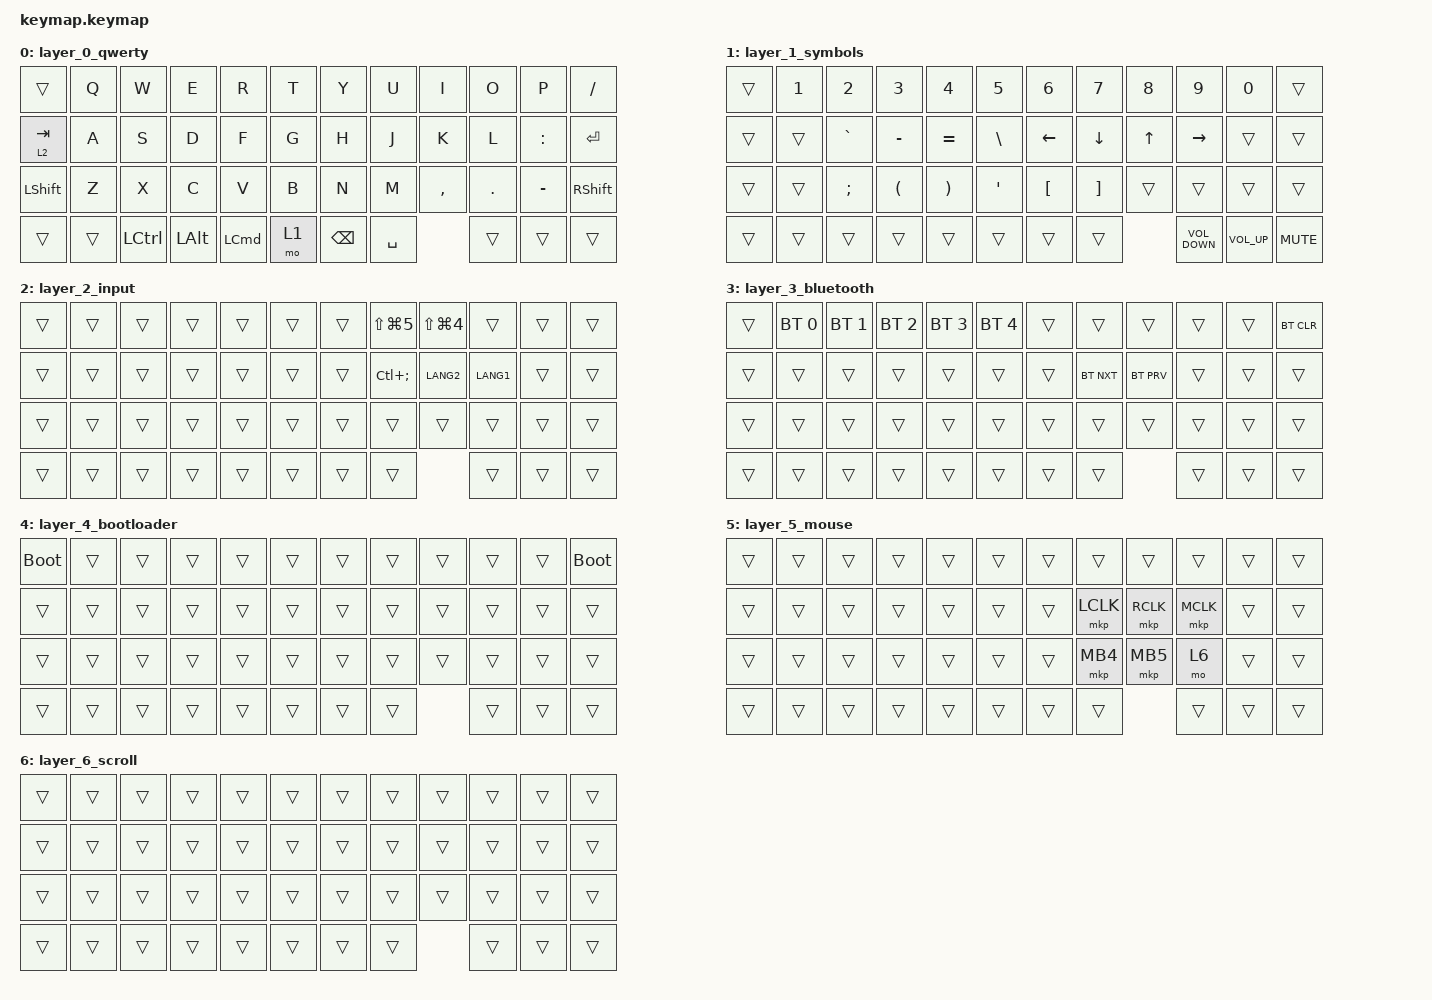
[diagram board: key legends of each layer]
#include <behaviors.dtsi>
#include <dt-bindings/zmk/bt.h>
#include <dt-bindings/zmk/keys.h>
#include <dt-bindings/zmk/pointing.h>

&lt { flavor = "hold-preferred"; };

/ {
    combos {
        compatible = "zmk,combos";

        Escape {
            bindings = <&kp ESCAPE>;
            key-positions = <16 15>;
        };

        mo_bluetooth_layer {
            bindings = <&mo 3>;
            key-positions = <45 46 44>;
        };

        to_bootloader {
            bindings = <&tog 4>;
            key-positions = <36 46 41 42>;
        };

        kl_to_layer1 {
            bindings = <&tog 1>;
            key-positions = <34 35>;
        };
    };

    keymap {
        compatible = "zmk,keymap";

        layer_0_qwerty {
            bindings = <
&trans          &kp Q   &kp W      &kp E         &kp R             &kp T  &kp Y          &kp U      &kp I      &kp O       &kp P      &kp SLASH
&lt 2 TAB       &kp A   &kp S      &kp D         &kp F             &kp G  &kp H          &kp J      &kp K      &kp L       &kp COLON  &kp ENTER
&kp LEFT_SHIFT  &kp Z   &kp X      &kp C         &kp V             &kp B  &kp N          &kp M      &kp COMMA  &kp PERIOD  &kp MINUS  &kp RSHIFT
&trans          &trans  &kp LCTRL  &kp LEFT_ALT  &kp LEFT_COMMAND  &mo 1  &kp BACKSPACE  &kp SPACE             &trans      &trans     &trans
            >;
        };

        layer_1_symbols {
            bindings = <
&trans  &kp N1  &kp N2         &kp N3                &kp N4                 &kp N5          &kp N6            &kp N7             &kp N8  &kp N9             &kp N0           &trans
&trans  &trans  &kp GRAVE      &kp MINUS             &kp EQUAL              &kp BSLH        &kp LEFT          &kp DOWN           &kp UP  &kp RIGHT          &trans           &trans
&trans  &trans  &kp SEMICOLON  &kp LEFT_PARENTHESIS  &kp RIGHT_PARENTHESIS  &kp APOSTROPHE  &kp LEFT_BRACKET  &kp RIGHT_BRACKET  &trans  &trans             &trans           &trans
&trans  &trans  &trans         &trans                &trans                 &trans          &trans            &trans                     &kp C_VOLUME_DOWN  &kp C_VOLUME_UP  &kp K_MUTE
            >;
        };

        layer_2_input {
            bindings = <
&trans  &trans  &trans  &trans  &trans  &trans  &trans  &kp LS(LG(N5))  &kp LS(LG(NUMBER_4))  &trans     &trans  &trans
&trans  &trans  &trans  &trans  &trans  &trans  &trans  &kp LC(SEMI)    &kp LANG2             &kp LANG1  &trans  &trans
&trans  &trans  &trans  &trans  &trans  &trans  &trans  &trans          &trans                &trans     &trans  &trans
&trans  &trans  &trans  &trans  &trans  &trans  &trans  &trans                                &trans     &trans  &trans
            >;
        };

        layer_3_bluetooth {
            bindings = <
&trans  &bt BT_SEL 0  &bt BT_SEL 1  &bt BT_SEL 2  &bt BT_SEL 3  &bt BT_SEL 4  &trans  &trans      &trans      &trans  &trans  &bt BT_CLR
&trans  &trans        &trans        &trans        &trans        &trans        &trans  &bt BT_NXT  &bt BT_PRV  &trans  &trans  &trans
&trans  &trans        &trans        &trans        &trans        &trans        &trans  &trans      &trans      &trans  &trans  &trans
&trans  &trans        &trans        &trans        &trans        &trans        &trans  &trans                  &trans  &trans  &trans
            >;
        };

        layer_4_bootloader {
            bindings = <
&bootloader  &trans  &trans  &trans  &trans  &trans  &trans  &trans  &trans  &trans  &trans  &bootloader
&trans       &trans  &trans  &trans  &trans  &trans  &trans  &trans  &trans  &trans  &trans  &trans
&trans       &trans  &trans  &trans  &trans  &trans  &trans  &trans  &trans  &trans  &trans  &trans
&trans       &trans  &trans  &trans  &trans  &trans  &trans  &trans          &trans  &trans  &trans
            >;
        };

        layer_5_mouse {
            bindings = <
&trans  &trans  &trans  &trans  &trans  &trans  &trans  &trans     &trans     &trans     &trans  &trans
&trans  &trans  &trans  &trans  &trans  &trans  &trans  &mkp LCLK  &mkp RCLK  &mkp MCLK  &trans  &trans
&trans  &trans  &trans  &trans  &trans  &trans  &trans  &mkp MB4   &mkp MB5   &mo 6      &trans  &trans
&trans  &trans  &trans  &trans  &trans  &trans  &trans  &trans                &trans     &trans  &trans
            >;
        };

        layer_6_scroll {
            bindings = <
&trans  &trans  &trans  &trans  &trans  &trans  &trans  &trans  &trans  &trans  &trans  &trans
&trans  &trans  &trans  &trans  &trans  &trans  &trans  &trans  &trans  &trans  &trans  &trans
&trans  &trans  &trans  &trans  &trans  &trans  &trans  &trans  &trans  &trans  &trans  &trans
&trans  &trans  &trans  &trans  &trans  &trans  &trans  &trans          &trans  &trans  &trans
            >;
        };
    };
};
